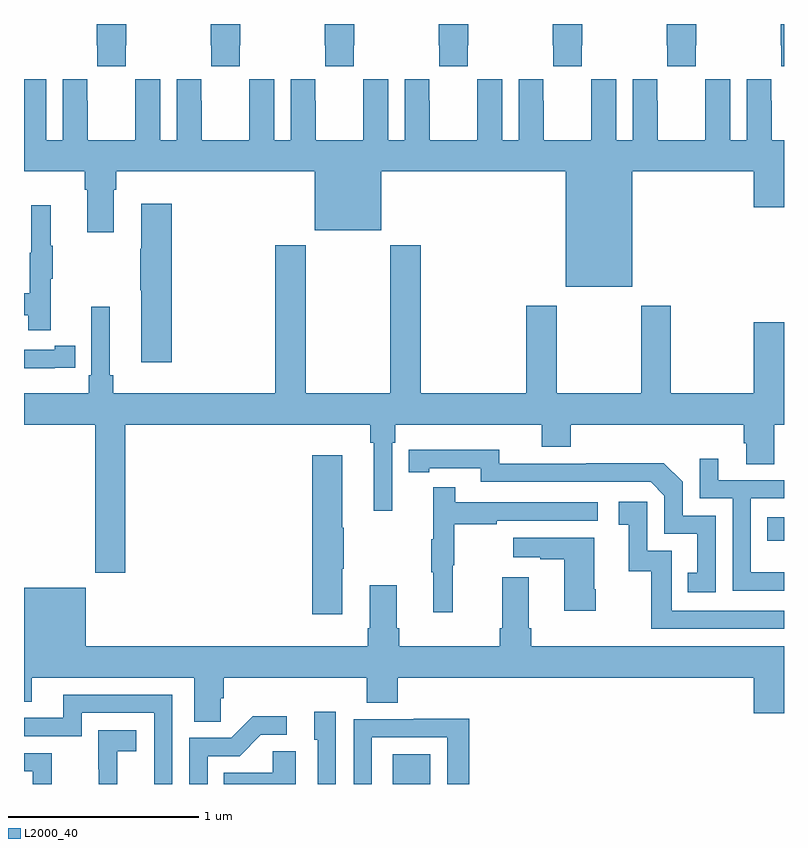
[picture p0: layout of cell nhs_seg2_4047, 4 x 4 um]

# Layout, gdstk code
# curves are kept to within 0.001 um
import gdstk
lib = gdstk.Library(unit=1e-6, precision=1e-09)
def R(c, l, rs):  # rectangles x0, y0, x1, y1
    for r in rs: c.add(gdstk.rectangle(r[:2], r[2:], *l))
def P(c, l, *ps):  # polygons
    for p in ps: c.add(gdstk.Polygon(p, *l))
L2000_40 = (2000, 40)

nhs_seg2_4047 = lib.new_cell('nhs_seg2_4047')
R(nhs_seg2_4047, L2000_40, [(330.941,589.8,331.138,589.957), (332.911,591.081,333,591.204)])
P(nhs_seg2_4047, L2000_40, [(333,593.8),(332.983,593.8),(332.983,593.689),(332.985,593.689),(332.985,593.577),(333,593.577)],
  [(329.535,593.689),(329.538,593.689),(329.538,593.8),(329.383,593.8),(329.383,593.689),(329.385,593.689),(329.385,593.577),(329.535,593.577)],
  [(330.135,593.689),(330.138,593.689),(330.138,593.8),(329.983,593.8),(329.983,593.689),(329.985,593.689),(329.985,593.577),(330.135,593.577)],
  [(330.735,593.689),(330.738,593.689),(330.738,593.8),(330.583,593.8),(330.583,593.689),(330.585,593.689),(330.585,593.577),(330.735,593.577)],
  [(331.335,593.689),(331.338,593.689),(331.338,593.8),(331.183,593.8),(331.183,593.689),(331.185,593.689),(331.185,593.577),(331.335,593.577)],
  [(331.935,593.689),(331.938,593.689),(331.938,593.8),(331.783,593.8),(331.783,593.689),(331.785,593.689),(331.785,593.577),(331.935,593.577)],
  [(332.535,593.689),(332.538,593.689),(332.538,593.8),(332.383,593.8),(332.383,593.689),(332.385,593.689),(332.385,593.577),(332.535,593.577)],
  [(331.386,593.509),(331.386,593.396),(331.385,593.396),(331.385,593.188),(331.135,593.188),(331.135,593.396),(331.134,593.396),(331.134,593.509),(331.004,593.509),(331.004,593.188),(330.916,593.188),(330.916,593.509),(330.786,593.509),(330.786,593.396),(330.785,593.396),(330.785,593.188),(330.535,593.188),(330.535,593.396),(330.534,593.396),(330.534,593.509),(330.404,593.509),(330.404,593.188),(330.316,593.188),(330.316,593.509),(330.186,593.509),(330.186,593.396),(330.185,593.396),(330.185,593.188),(329.935,593.188),(329.935,593.396),(329.934,593.396),(329.934,593.509),(329.804,593.509),(329.804,593.188),(329.716,593.188),(329.716,593.509),(329.586,593.509),(329.586,593.396),(329.585,593.396),(329.585,593.188),(329.335,593.188),(329.335,593.396),(329.334,593.396),(329.334,593.509),(329.204,593.509),(329.204,593.188),(329.116,593.188),(329.116,593.509),(329,593.509),(329,593.024),(329.321,593.024),(329.321,592.928),(329.333,592.928),(329.333,592.704),(329.473,592.704),(329.473,592.928),(329.486,592.928),(329.486,593.024),(330.53,593.024),(330.53,592.715),(330.88,592.715),(330.88,593.024),(331.85,593.024),(331.85,592.418),(332.2,592.418),(332.2,593.024),(332.84,593.024),(332.84,592.836),(333,592.836),(333,593.188),(332.935,593.188),(332.935,593.396),(332.934,593.396),(332.934,593.509),(332.804,593.509),(332.804,593.188),(332.716,593.188),(332.716,593.509),(332.586,593.509),(332.586,593.396),(332.585,593.396),(332.585,593.188),(332.335,593.188),(332.335,593.396),(332.334,593.396),(332.334,593.509),(332.204,593.509),(332.204,593.188),(332.116,593.188),(332.116,593.509),(331.986,593.509),(331.986,593.396),(331.985,593.396),(331.985,593.188),(331.735,593.188),(331.735,593.396),(331.734,593.396),(331.734,593.509),(331.604,593.509),(331.604,593.188),(331.516,593.188),(331.516,593.509)],
  [(329.777,592.855),(329.618,592.855),(329.618,592.616),(329.611,592.616),(329.611,592.399),(329.618,592.399),(329.618,592.02),(329.777,592.02)],
  [(329.141,592.459),(329.152,592.459),(329.152,592.633),(329.141,592.633),(329.141,592.846),(329.038,592.846),(329.038,592.596),(329.031,592.596),(329.031,592.382),(329,592.382),(329,592.266),(329.023,592.266),(329.023,592.188),(329.141,592.188)],
  [(329.534,591.692),(330.823,591.692),(330.823,591.596),(330.842,591.596),(330.842,591.237),(330.939,591.237),(330.939,591.596),(330.953,591.596),(330.953,591.692),(331.724,591.692),(331.724,591.575),(331.877,591.575),(331.877,591.692),(332.789,591.692),(332.789,591.594),(332.801,591.594),(332.801,591.484),(332.949,591.484),(332.949,591.692),(333,591.692),(333,592.231),(332.84,592.231),(332.84,591.856),(332.403,591.856),(332.403,592.318),(332.248,592.318),(332.248,591.856),(331.803,591.856),(331.803,592.318),(331.643,592.318),(331.643,591.856),(331.088,591.856),(331.088,592.636),(330.928,592.636),(330.928,591.856),(330.483,591.856),(330.483,592.636),(330.323,592.636),(330.323,591.856),(329.471,591.856),(329.471,591.952),(329.452,591.952),(329.452,592.312),(329.355,592.312),(329.355,591.952),(329.342,591.952),(329.342,591.856),(329,591.856),(329,591.692),(329.374,591.692),(329.374,590.913),(329.534,590.913)],
  [(329.162,591.99),(329.27,591.99),(329.27,592.106),(329.162,592.106),(329.162,592.086),(329,592.086),(329,591.989),(329.162,591.989)],
  [(332.64,591.213),(332.466,591.213),(332.466,591.39),(332.368,591.488),(331.96,591.488),(331.96,591.486),(331.5,591.486),(331.5,591.559),(331.024,591.558),(331.024,591.442),(331.132,591.442),(331.132,591.462),(331.404,591.462),(331.404,591.39),(332.298,591.39),(332.37,591.318),(332.37,591.117),(332.543,591.117),(332.543,590.913),(332.494,590.913),(332.494,590.808),(332.64,590.808)],
  [(330.676,590.932),(330.684,590.932),(330.684,591.149),(330.676,591.149),(330.676,591.529),(330.518,591.529),(330.518,590.694),(330.676,590.694)],
  [(333,590.914),(332.826,590.914),(332.826,591.303),(333,591.303),(333,591.399),(332.653,591.399),(332.653,591.511),(332.556,591.511),(332.556,591.303),(332.73,591.303),(332.73,590.817),(333,590.817)],
  [(331.256,590.952),(331.264,590.952),(331.264,591.166),(331.487,591.166),(331.487,591.186),(332.02,591.186),(332.02,591.282),(331.271,591.282),(331.271,591.361),(331.154,591.361),(331.154,591.089),(331.143,591.089),(331.143,590.915),(331.154,590.915),(331.154,590.703),(331.256,590.703)],
  [(333,590.712),(332.409,590.712),(332.409,591.027),(332.28,591.027),(332.28,591.286),(332.13,591.286),(332.13,591.165),(332.183,591.165),(332.183,590.919),(332.301,590.919),(332.301,590.616),(333,590.616)],
  [(332.01,590.824),(332.002,590.824),(332.002,591.097),(331.575,591.097),(331.575,590.993),(331.718,590.993),(331.718,590.983),(331.844,590.983),(331.844,590.712),(332.01,590.712)],
  [(330.036,590.251),(330.05,590.251),(330.05,590.36),(330.803,590.36),(330.803,590.227),(330.968,590.227),(330.968,590.36),(332.84,590.36),(332.84,590.172),(333,590.172),(333,590.524),(331.67,590.524),(331.67,590.62),(331.657,590.62),(331.657,590.887),(331.517,590.887),(331.517,590.62),(331.505,590.62),(331.505,590.524),(330.974,590.524),(330.974,590.62),(330.961,590.62),(330.961,590.845),(330.821,590.845),(330.821,590.62),(330.809,590.62),(330.809,590.524),(329.326,590.524),(329.326,590.833),(329,590.833),(329,590.233),(329.041,590.233),(329.041,590.36),(329.897,590.36),(329.897,590.128),(330.036,590.128)],
  [(329.781,590.271),(329.207,590.271),(329.207,590.148),(329,590.148),(329,590.052),(329.304,590.052),(329.304,590.175),(329.685,590.175),(329.685,589.8),(329.781,589.8)],
  [(330.642,590.179),(330.527,590.179),(330.527,590.034),(330.546,590.034),(330.546,589.8),(330.642,589.8)],
  [(329.967,589.947),(330.136,589.947),(330.247,590.058),(330.382,590.058),(330.382,590.156),(330.203,590.156),(330.09,590.043),(329.871,590.043),(329.871,589.8),(329.967,589.8)],
  [(330.831,590.046),(331.227,590.046),(331.227,589.8),(331.343,589.8),(331.343,590.144),(331.051,590.144),(331.051,590.142),(330.735,590.142),(330.735,589.8),(330.831,589.8)],
  [(329.492,589.973),(329.59,589.973),(329.59,590.083),(329.392,590.083),(329.392,589.877),(329.393,589.877),(329.393,589.8),(329.492,589.8)],
  [(330.43,589.973),(330.309,589.973),(330.309,589.858),(330.052,589.858),(330.052,589.8),(330.43,589.8)],
  [(329.145,589.962),(329,589.962),(329,589.866),(329.046,589.866),(329.046,589.8),(329.145,589.8)])

lib.write_gds('nhs_seg2_4047.gds')
